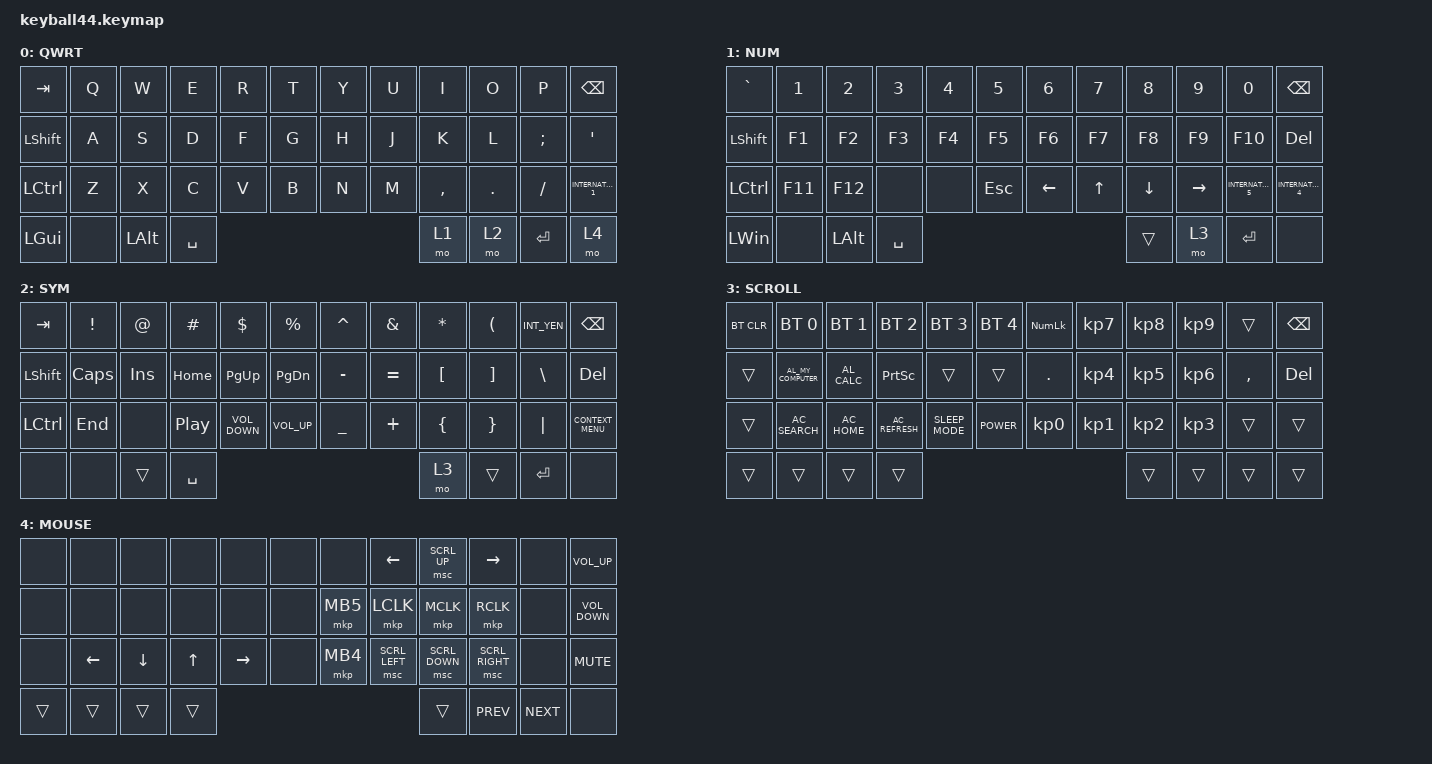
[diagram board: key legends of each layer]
#define DEFAULT 0
#define NUM     1
#define SYM     2
#define FUN     3
#define MOUSE   4
#define SCROLL  5
#define SNIPE   6

#include <behaviors/mouse_keys.dtsi>
#include <behaviors.dtsi>
#include <dt-bindings/zmk/bt.h>
#include <dt-bindings/zmk/keys.h>
#include <dt-bindings/zmk/mouse.h>

&lt {
    tapping-term-ms = <240>;
    flavor = "balanced";
    quick-tap-ms = <150>;
};

&mt {
    tapping-term-ms = <200>;
    flavor = "tap-preferred";
    quick-tap-ms = <150>;
};

&caps_word { continue-list = <UNDERSCORE MINUS>; };

/ {
    // custom shift using mod-morph 

    behaviors {
        cmqus: comma_question {
            compatible = "zmk,behavior-mod-morph";
            label = "COMMA_QUESTION";
            #binding-cells = <0>;
            bindings = <&kp COMMA>, <&kp QUESTION>;

            mods = <(MOD_LSFT|MOD_RSFT)>;
        };

        dtsmi: dot_semi {
            compatible = "zmk,behavior-mod-morph";
            label = "DOT_SEMI";
            #binding-cells = <0>;
            bindings = <&kp DOT>, <&kp SEMI>;

            mods = <(MOD_LSFT|MOD_RSFT)>;
        };

        bkslash_Line: Non_JIS {
            compatible = "zmk,behavior-mod-morph";
            label = "NON_JIS";
            bindings = <&kp INTERNATIONAL_3>, <&kp INTERNATIONAL_6>;

            #binding-cells = <0>;
            mods = <(MOD_LSFT|MOD_RSFT)>;
        };
    };

    keymap {
        compatible = "zmk,keymap";

        default_layer {
            label = "QWRT";
            bindings = <
&kp TAB           &kp Q  &kp W         &kp E      &kp R  &kp T             &kp Y      &kp U  &kp I      &kp O    &kp P      &kp BACKSPACE
&kp LEFT_SHIFT    &kp A  &kp S         &kp D      &kp F  &kp G             &kp H      &kp J  &kp K      &kp L    &kp SEMI   &kp SQT
&kp LEFT_CONTROL  &kp Z  &kp X         &kp C      &kp V  &kp B             &kp N      &kp M  &kp COMMA  &kp DOT  &kp SLASH  &kp INTERNATIONAL_1
&kp LGUI          &none  &kp LEFT_ALT  &kp SPACE  &mo 1             &mo 2  &kp ENTER                                        &mo 4
            >;
        };

        number_layer {
            label = "NUM";
            bindings = <
&kp GRAVE         &kp NUMBER_1  &kp NUMBER_2  &kp NUMBER_3  &kp NUMBER_4  &kp NUMBER_5             &kp NUMBER_6    &kp NUMBER_7  &kp NUMBER_8    &kp NUMBER_9     &kp NUMBER_0         &kp BACKSPACE
&kp LEFT_SHIFT    &kp F1        &kp F2        &kp F3        &kp F4        &kp F5                   &kp F6          &kp F7        &kp F8          &kp F9           &kp F10              &kp DELETE
&kp LEFT_CONTROL  &kp F11       &kp F12       &none         &none         &kp ESCAPE               &kp LEFT_ARROW  &kp UP_ARROW  &kp DOWN_ARROW  &kp RIGHT_ARROW  &kp INTERNATIONAL_5  &kp INTERNATIONAL_4
&kp LEFT_WIN      &none         &kp LEFT_ALT  &kp SPACE     &trans                          &mo 3  &kp ENTER                                                                           &none
            >;
        };

        symbol_layer {
            label = "SYM";
            bindings = <
&kp TAB           &kp EXCLAMATION  &kp AT_SIGN  &kp HASH          &kp DOLLAR         &kp PERCENT                  &kp CARET       &kp AMPERSAND  &kp ASTERISK      &kp LEFT_PARENTHESIS  &kp INT_YEN    &kp BACKSPACE
&kp LEFT_SHIFT    &kp CAPSLOCK     &kp INSERT   &kp HOME          &kp PAGE_UP        &kp PAGE_DOWN                &kp MINUS       &kp EQUAL      &kp LEFT_BRACKET  &kp RIGHT_BRACKET     &kp BACKSLASH  &kp DELETE
&kp LEFT_CONTROL  &kp END          &none        &kp C_PLAY_PAUSE  &kp C_VOLUME_DOWN  &kp C_VOLUME_UP              &kp UNDERSCORE  &kp PLUS       &kp LEFT_BRACE    &kp RIGHT_BRACE       &kp PIPE       &kp K_CONTEXT_MENU
&none             &none            &trans       &kp SPACE         &mo 3                                   &trans  &kp ENTER                                                                             &none
            >;
        };

        scroll_layer {
            label = "SCROLL";
            bindings = <
&bt BT_CLR  &bt BT_SEL 0          &bt BT_SEL 1   &bt BT_SEL 2      &bt BT_SEL 3      &bt BT_SEL 4              &kp KP_NUM       &kp KP_NUMBER_7  &kp KP_NUMBER_8  &kp KP_NUMBER_9  &trans     &kp BACKSPACE
&trans      &kp C_AL_MY_COMPUTER  &kp C_AL_CALC  &kp PRINTSCREEN   &trans            &trans                    &kp DOT          &kp KP_NUMBER_4  &kp KP_NUMBER_5  &kp KP_NUMBER_6  &kp COMMA  &kp DELETE
&trans      &kp C_AC_SEARCH       &kp C_AC_HOME  &kp C_AC_REFRESH  &kp C_SLEEP_MODE  &kp C_POWER               &kp KP_NUMBER_0  &kp KP_NUMBER_1  &kp KP_NUMBER_2  &kp KP_NUMBER_3  &trans     &trans
&trans      &trans                &trans         &trans            &trans                              &trans  &trans                                                                         &trans
            >;
        };

        mouse_layer {
            label = "MOUSE";
            bindings = <
&none   &none           &none           &none         &none            &none                  &none       &kp LEFT_ARROW  &msc SCRL_UP    &kp RIGHT_ARROW  &none  &kp C_VOLUME_UP
&none   &none           &none           &none         &none            &none                  &mkp MB5    &mkp LCLK       &mkp MCLK       &mkp RCLK        &none  &kp C_VOLUME_DOWN
&none   &kp LEFT_ARROW  &kp DOWN_ARROW  &kp UP_ARROW  &kp RIGHT_ARROW  &none                  &mkp MB4    &msc SCRL_LEFT  &msc SCRL_DOWN  &msc SCRL_RIGHT  &none  &kp C_MUTE
&trans  &trans          &trans          &trans        &trans                      &kp K_PREV  &kp C_NEXT                                                          &none
            >;
        };
    };
};
